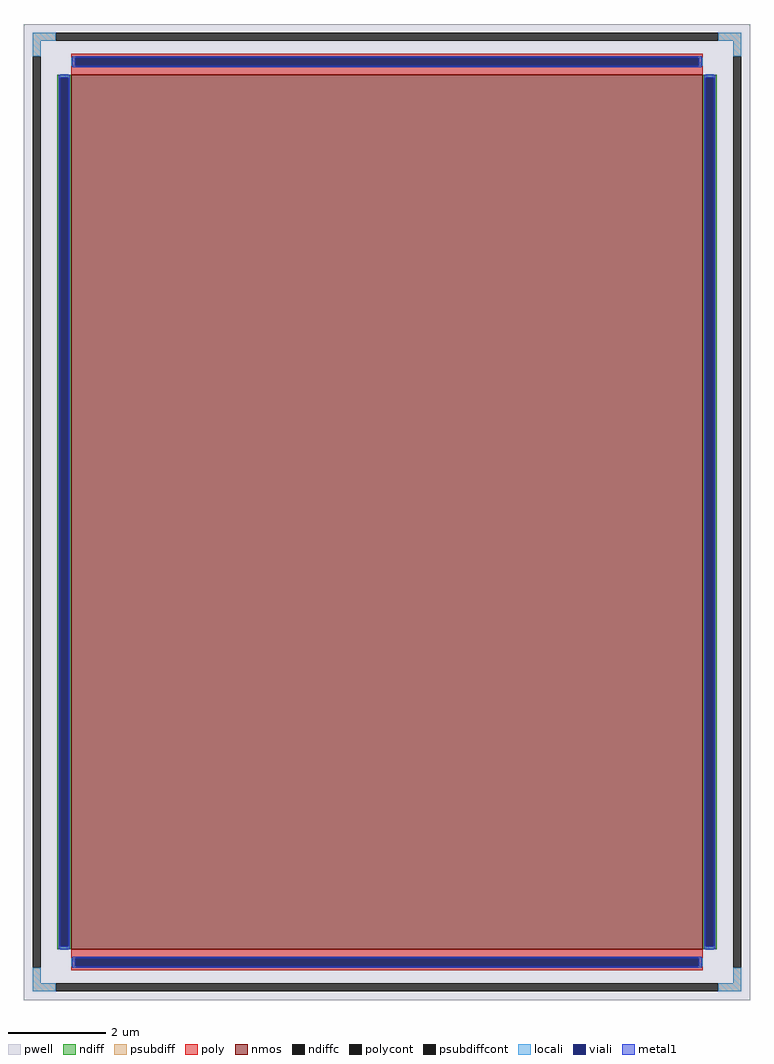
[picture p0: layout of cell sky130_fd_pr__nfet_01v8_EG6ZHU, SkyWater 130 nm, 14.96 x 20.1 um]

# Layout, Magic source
magic
tech sky130A
<< pwell >>
rect -748 -1005 748 1005
<< nmos >>
rect -650 -900 650 900
<< ndiff >>
rect -679 894 -650 900
rect -679 -894 -673 894
rect -656 -894 -650 894
rect -679 -900 -650 -894
rect 650 894 679 900
rect 650 -894 656 894
rect 673 -894 679 894
rect 650 -900 679 -894
<< ndiffc >>
rect -673 -894 -656 894
rect 656 -894 673 894
<< psubdiff >>
rect -730 970 -682 987
rect 682 970 730 987
rect -730 939 -713 970
rect 713 939 730 970
rect -730 -970 -713 -939
rect 713 -970 730 -939
rect -730 -987 -682 -970
rect 682 -987 730 -970
<< psubdiffcont >>
rect -682 970 682 987
rect -730 -939 -713 939
rect 713 -939 730 939
rect -682 -987 682 -970
<< poly >>
rect -650 936 650 944
rect -650 919 -642 936
rect 642 919 650 936
rect -650 900 650 919
rect -650 -919 650 -900
rect -650 -936 -642 -919
rect 642 -936 650 -919
rect -650 -944 650 -936
<< polycont >>
rect -642 919 642 936
rect -642 -936 642 -919
<< locali >>
rect -730 970 -682 987
rect 682 970 730 987
rect -730 939 -713 970
rect 713 939 730 970
rect -650 919 -642 936
rect 642 919 650 936
rect -673 894 -656 902
rect -673 -902 -656 -894
rect 656 894 673 902
rect 656 -902 673 -894
rect -650 -936 -642 -919
rect 642 -936 650 -919
rect -730 -970 -713 -939
rect 713 -970 730 -939
rect -730 -987 -682 -970
rect 682 -987 730 -970
<< viali >>
rect -642 919 642 936
rect -673 -894 -656 894
rect 656 -894 673 894
rect -642 -936 642 -919
<< metal1 >>
rect -648 936 648 939
rect -648 919 -642 936
rect 642 919 648 936
rect -648 916 648 919
rect -676 894 -653 900
rect -676 -894 -673 894
rect -656 -894 -653 894
rect -676 -900 -653 -894
rect 653 894 676 900
rect 653 -894 656 894
rect 673 -894 676 894
rect 653 -900 676 -894
rect -648 -919 648 -916
rect -648 -936 -642 -919
rect 642 -936 648 -919
rect -648 -939 648 -936
<< properties >>
string FIXED_BBOX -721 -978 721 978
string gencell sky130_fd_pr__nfet_01v8
string library sky130
string parameters w 18 l 13 m 1 nf 1 diffcov 100 polycov 100 guard 1 glc 1 grc 1 gtc 1 gbc 1 tbcov 100 rlcov 100 topc 1 botc 1 poverlap 0 doverlap 1 lmin 0.15 wmin 0.42 compatible {sky130_fd_pr__nfet_01v8 sky130_fd_pr__nfet_01v8_lvt  sky130_fd_bs_flash__special_sonosfet_star  sky130_fd_pr__nfet_g5v0d10v5 sky130_fd_pr__nfet_05v0_nvt  sky130_fd_pr__nfet_03v3_nvt} full_metal 1 viasrc 100 viadrn 100 viagate 100 viagb 0 viagr 0 viagl 0 viagt 0
<< end >>
